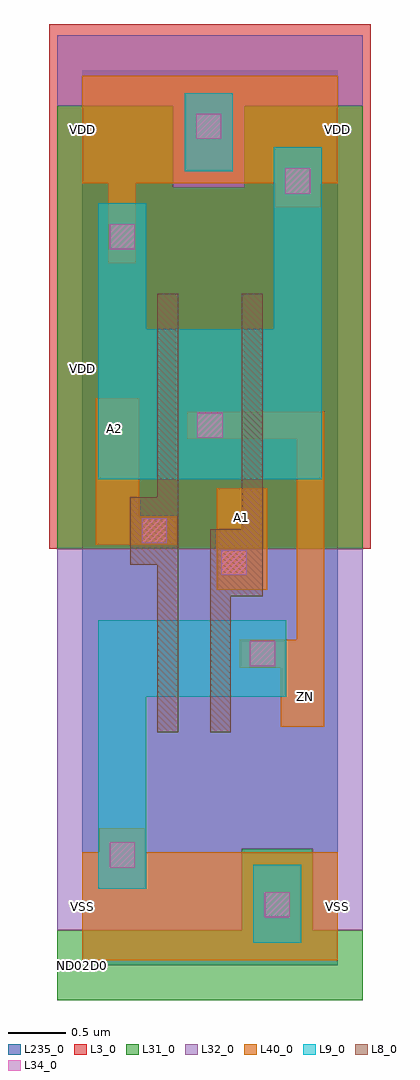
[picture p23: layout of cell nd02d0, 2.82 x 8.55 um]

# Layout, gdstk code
import gdstk
lib = gdstk.Library(unit=1e-6, precision=1e-09)
def R(c, l, rs):  # rectangles x0, y0, x1, y1
    for r in rs: c.add(gdstk.rectangle(r[:2], r[2:], *l))
def P(c, l, *ps):  # polygons
    for p in ps: c.add(gdstk.Polygon(p, *l))
L3_0 = (3, 0)
L8_0 = (8, 0)
L9_0 = (9, 0)
L31_0 = (31, 0)
L32_0 = (32, 0)
L34_0 = (34, 0)
L40_0 = (40, 0)
L235_0 = (235, 0)

nd02d0 = lib.new_cell('nd02d0')
R(nd02d0, L3_0, [(-0.29,3.65,2.53,8.245)])
P(nd02d0, L8_0, [(1.3,3.23),(1.58,3.23),(1.58,5.88),(1.4,5.88),(1.4,3.82),(1.12,3.82),(1.12,2.04),(1.3,2.04)],
  [(0.84,5.88),(0.66,5.88),(0.66,4.1),(0.42,4.1),(0.42,3.51),(0.66,3.51),(0.66,2.04),(0.84,2.04)])
R(nd02d0, L9_0, [(1.5,0.195,1.92,0.88), (0.9,6.955,1.32,7.64)])
P(nd02d0, L9_0, [(1.79,3.02),(1.79,2.35),(0.56,2.35),(0.56,0.67),(0.14,0.67),(0.14,3.02)],
  [(2.1,7.165),(2.1,4.255),(0.14,4.255),(0.14,6.675),(0.56,6.675),(0.56,5.57),(1.68,5.57),(1.68,7.165)])
P(nd02d0, L31_0, [(2.02,1.02),(2.02,0.305),(2.46,0.305),(2.46,-0.305),(-0.22,-0.305),(-0.22,0.305),(1.4,0.305),(1.4,1.02)],
  [(2.46,7.53),(2.46,3.65),(-0.22,3.65),(-0.22,7.53),(0.8,7.53),(0.8,6.815),(1.42,6.815),(1.42,7.53)])
P(nd02d0, L32_0, [(2.46,3.65),(2.46,0.305),(2.02,0.305),(2.02,1.02),(1.4,1.02),(1.4,0.305),(-0.22,0.305),(-0.22,3.65)],
  [(2.46,8.145),(2.46,7.53),(1.42,7.53),(1.42,6.815),(0.8,6.815),(0.8,7.53),(-0.22,7.53),(-0.22,8.145)])
R(nd02d0, L34_0, [(1.6,0.42,1.82,0.64), (0.24,0.855,0.46,1.075), (1.47,2.62,1.69,2.84), (1.22,3.415,1.44,3.635), (0.52,3.695,0.74,3.915), (1.01,4.62,1.23,4.84), (0.24,6.27,0.46,6.49), (1.78,6.76,2,6.98), (1,7.24,1.22,7.46)])
R(nd02d0, L40_0, [(1.18,3.29,1.62,4.18)])
P(nd02d0, L40_0, [(0,6.85),(0.23,6.85),(0.23,6.15),(0.47,6.15),(0.47,6.85),(1.69,6.85),(1.69,6.64),(2.09,6.64),(2.09,6.85),(2.24,6.85),(2.24,7.79),(0,7.79)],
  [(0.92,4.61),(1.88,4.61),(1.88,2.85),(1.38,2.85),(1.38,2.605),(1.74,2.605),(1.74,2.09),(2.12,2.09),(2.12,4.85),(0.92,4.85)],
  [(0.12,4.965),(0.12,3.685),(0.83,3.685),(0.83,3.93),(0.5,3.93),(0.5,4.965)],
  [(0.15,1.2),(0.15,0.99),(0,0.99),(0,0.045),(2.24,0.045),(2.24,0.99),(0.55,0.99),(0.55,1.2)])
R(nd02d0, L235_0, [(0,0,2.24,7.84)])
nd02d0.add(gdstk.Label('VDD', (0,5.23), layer=40, texttype=7))
nd02d0.add(gdstk.Label('VDD', (0,5.23), layer=40, texttype=7))
nd02d0.add(gdstk.Label('VDD', (0,5.23), layer=40, texttype=7))
nd02d0.add(gdstk.Label('VDD', (0,5.23), layer=40, texttype=7))
nd02d0.add(gdstk.Label('VDD', (0,5.23), layer=40, texttype=7))
nd02d0.add(gdstk.Label('Copyright (c) 2003, 2004 Synopsys, Inc.', (0,-2.24), layer=96, texttype=0))
nd02d0.add(gdstk.Label('DT. 10-Sep-2002 16:42:51', (0,-1.68), layer=96, texttype=0))
nd02d0.add(gdstk.Label('Rev. 1', (0,-1.12), layer=96, texttype=0))
nd02d0.add(gdstk.Label('2-INPUT NAND, 0.5X DRIVE', (0,-0.56), layer=96, texttype=0))
nd02d0.add(gdstk.Label('ND02D0', (0,0), layer=96, texttype=0))
nd02d0.add(gdstk.Label('A2', (0.28,4.7), layer=40, texttype=7))
nd02d0.add(gdstk.Label('ZN', (1.96,2.35), layer=40, texttype=7))
nd02d0.add(gdstk.Label('A1', (1.4,3.92), layer=40, texttype=7))
nd02d0.add(gdstk.Label('VSS', (2.24,0.515), layer=40, texttype=7))
nd02d0.add(gdstk.Label('VDD', (2.24,7.32), layer=40, texttype=7))
nd02d0.add(gdstk.Label('VSS', (0,0.515), layer=40, texttype=7))
nd02d0.add(gdstk.Label('VDD', (0,7.32), layer=40, texttype=7))

lib.write_gds('nd02d0.gds')
